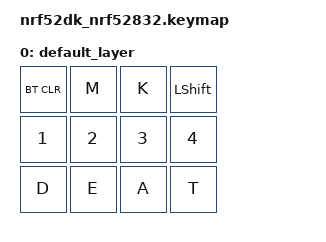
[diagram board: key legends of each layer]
/*
 * Copyright (c) 2022 The ZMK Contributors
 *
 * SPDX-License-Identifier: MIT
 */

#include <behaviors.dtsi>
#include <dt-bindings/zmk/bt.h>
#include <dt-bindings/zmk/keys.h>
#include <dt-bindings/zmk/outputs.h>
/ {
	keymap {
		compatible = "zmk,keymap";
		default_layer {
			bindings = <
		   &bt BT_CLR  &kp M &kp K &kp LEFT_SHIFT
		   &kp N1 &kp N2 &kp N3 &kp N4
		   &kp D &kp E &kp A &kp T
		  >;
		};
	};
};
